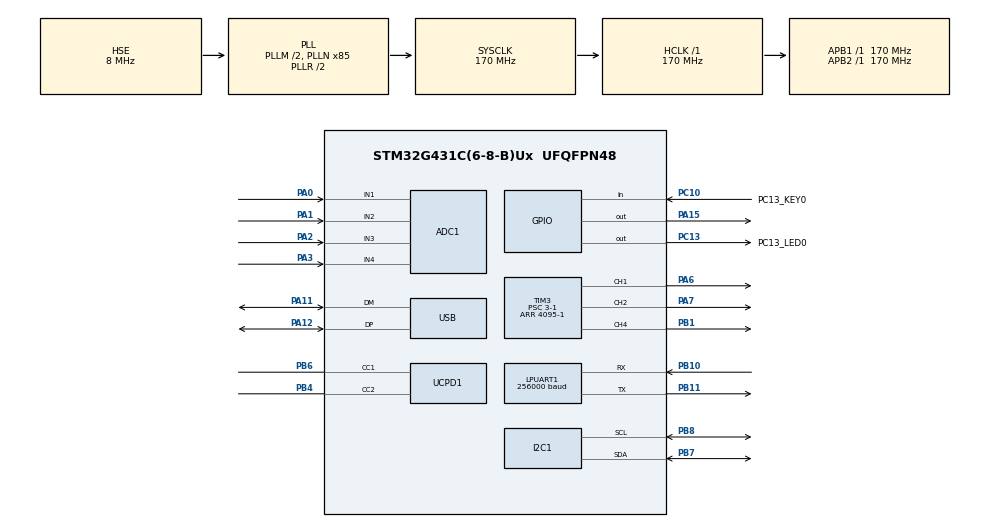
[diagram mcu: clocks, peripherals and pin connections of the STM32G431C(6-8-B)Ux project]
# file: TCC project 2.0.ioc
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ADC1.Channel-0\#ChannelRegularConversion=ADC_CHANNEL_2
ADC1.Channel-4\#ChannelRegularConversion=ADC_CHANNEL_3
ADC1.Channel-5\#ChannelRegularConversion=ADC_CHANNEL_4
ADC1.Channel-6\#ChannelRegularConversion=ADC_CHANNEL_1
ADC1.ClockPrescaler=ADC_CLOCK_ASYNC_DIV8
ADC1.ContinuousConvMode=ENABLE
ADC1.NbrOfConversion=4
ADC1.NbrOfConversionFlag=1
ADC1.OffsetNumber-4\#ChannelRegularConversion=ADC_OFFSET_NONE
ADC1.OffsetNumber-5\#ChannelRegularConversion=ADC_OFFSET_NONE
ADC1.OffsetNumber-6\#ChannelRegularConversion=ADC_OFFSET_NONE
ADC1.Rank-4\#ChannelRegularConversion=2
ADC1.Rank-5\#ChannelRegularConversion=3
ADC1.Rank-6\#ChannelRegularConversion=4
ADC1.SamplingTime-0\#ChannelRegularConversion=ADC_SAMPLETIME_12CYCLES_5
ADC1.SamplingTime-4\#ChannelRegularConversion=ADC_SAMPLETIME_12CYCLES_5
ADC1.SamplingTime-5\#ChannelRegularConversion=ADC_SAMPLETIME_12CYCLES_5
ADC1.SamplingTime-6\#ChannelRegularConversion=ADC_SAMPLETIME_24CYCLES_5
ADC1.master=1
Dma.ADC1.0.Direction=DMA_PERIPH_TO_MEMORY
Dma.ADC1.0.EventEnable=DISABLE
Dma.ADC1.0.Instance=DMA1_Channel1
Dma.ADC1.0.MemDataAlignment=DMA_MDATAALIGN_WORD
Dma.ADC1.0.MemInc=DMA_MINC_ENABLE
Dma.ADC1.0.Mode=DMA_CIRCULAR
Dma.ADC1.0.PeriphDataAlignment=DMA_PDATAALIGN_WORD
Dma.ADC1.0.PeriphInc=DMA_PINC_DISABLE
Dma.ADC1.0.Polarity=HAL_DMAMUX_REQ_GEN_RISING
Dma.ADC1.0.Priority=DMA_PRIORITY_LOW
Dma.ADC1.0.RequestNumber=1
Dma.ADC1.0.SignalID=NONE
Dma.ADC1.0.SyncEnable=DISABLE
Dma.ADC1.0.SyncPolarity=HAL_DMAMUX_SYNC_NO_EVENT
Dma.ADC1.0.SyncRequestNumber=1
Dma.ADC1.0.SyncSignalID=NONE
Dma.Request0=ADC1
I2C1.Timing=0x40B285C2
LPUART1.BaudRate=256000
Mcu.Family=STM32G4
Mcu.Name=STM32G431C(6-8-B)Ux
Mcu.Package=UFQFPN48
NVIC.ADC1_2_IRQn=true\:0\:0\:false\:false\:true\:true\:true\:true
NVIC.DMA1_Channel1_IRQn=true\:0\:0\:false\:false\:true\:false\:true\:true
NVIC.PriorityGroup=NVIC_PRIORITYGROUP_4
NVIC.TIM1_UP_TIM16_IRQn=true\:0\:0\:false\:false\:true\:true\:true\:true
NVIC.TIM6_DAC_IRQn=true\:1\:0\:true\:false\:true\:true\:true\:true
NVIC.TIM7_IRQn=true\:2\:0\:true\:false\:true\:true\:true\:true
NVIC.USB_LP_IRQn=true\:0\:0\:false\:false\:true\:true\:true\:false
PA0.Mode=IN1-Single-Ended
PA0.Signal=ADC1_IN1
PA1.Mode=IN2-Single-Ended
PA1.Signal=ADC1_IN2
PA10.Signal=S_TIM1_CH3
PA11.Mode=Device
PA11.Signal=USB_DM
PA12.Mode=Device
PA12.Signal=USB_DP
PA13.Mode=Serial_Wire
PA13.Signal=SYS_JTMS-SWDIO
PA14.Mode=Serial_Wire
PA14.Signal=SYS_JTCK-SWCLK
PA15.Signal=GPIO_Output
PA2.Mode=IN3-Single-Ended
PA2.Signal=ADC1_IN3
PA3.Mode=IN4-Single-Ended
PA3.Signal=ADC1_IN4
PA6.Signal=S_TIM3_CH1
PA7.Signal=S_TIM3_CH2
PA8.Signal=S_TIM1_CH1
PA9.Signal=S_TIM1_CH2
PB1.Signal=S_TIM3_CH4
PB10.Mode=Asynchronous
PB10.Signal=LPUART1_RX
PB11.Mode=Asynchronous
PB11.Signal=LPUART1_TX
PB12.Signal=TIM1_BKIN
PB13.Signal=TIM1_CH1N
PB15.Signal=TIM1_CH3N
PB4.Mode=Dual_Role_AllSignals
PB4.Signal=UCPD1_CC2
PB6.Mode=Dual_Role_AllSignals
PB6.Signal=UCPD1_CC1
PB7.Mode=I2C
PB7.Signal=I2C1_SDA
PB8-BOOT0.Mode=I2C
PB8-BOOT0.Signal=I2C1_SCL
PC10.GPIO_Label=PC13_KEY0
PC10.GPIO_PuPd=GPIO_PULLUP
PC10.Signal=GPIO_Input
PC13.GPIO_Label=PC13_LED0
PC13.Signal=GPIO_Output
PC14-OSC32_IN.Mode=LSE-External-Oscillator
PC14-OSC32_IN.Signal=RCC_OSC32_IN
PC15-OSC32_OUT.Mode=LSE-External-Oscillator
PC15-OSC32_OUT.Signal=RCC_OSC32_OUT
PF0-OSC_IN.Mode=HSE-External-Oscillator
PF0-OSC_IN.Signal=RCC_OSC_IN
PF1-OSC_OUT.Mode=HSE-External-Oscillator
PF1-OSC_OUT.Signal=RCC_OSC_OUT
ProjectManager.HeapSize=0x200
ProjectManager.StackSize=0x400
ProjectManager.TargetToolchain=STM32CubeIDE
RCC.ADC12Freq_Value=170000000
RCC.AHBFreq_Value=170000000
RCC.APB1Freq_Value=170000000
RCC.APB1TimFreq_Value=170000000
RCC.APB2Freq_Value=170000000
RCC.APB2TimFreq_Value=170000000
RCC.CK48CLockSelection=RCC_USBCLKSOURCE_HSI48
RCC.CortexFreq_Value=170000000
RCC.EXTERNAL_CLOCK_VALUE=12288000
RCC.HCLKFreq_Value=170000000
RCC.HSE_VALUE=8000000
RCC.HSI48_VALUE=48000000
RCC.HSI_VALUE=16000000
RCC.PLLM=RCC_PLLM_DIV2
RCC.PLLN=85
RCC.PLLSourceVirtual=RCC_PLLSOURCE_HSE
RCC.SYSCLKFreq_VALUE=170000000
RCC.SYSCLKSource=RCC_SYSCLKSOURCE_PLLCLK
RCC.USBFreq_Value=48000000
RCC.VCOOutputFreq_Value=340000000
SH.S_TIM1_CH1.0=TIM1_CH1
SH.S_TIM1_CH2.0=TIM1_CH2
SH.S_TIM1_CH3.0=TIM1_CH3
SH.S_TIM3_CH1.0=TIM3_CH1,PWM Generation1 CH1
SH.S_TIM3_CH2.0=TIM3_CH2,PWM Generation2 CH2
SH.S_TIM3_CH4.0=TIM3_CH4,PWM Generation4 CH4
TIM16.PeriodNoDither=2-1
TIM16.Prescaler=85-1
TIM3.Channel-PWM\ Generation1\ CH1=TIM_CHANNEL_1
TIM3.Channel-PWM\ Generation2\ CH2=TIM_CHANNEL_2
TIM3.Channel-PWM\ Generation4\ CH4=TIM_CHANNEL_4
TIM3.PeriodNoDither=4095-1
TIM3.Prescaler=3-1
TIM6.PeriodNoDither=320-1
TIM6.Prescaler=170-1
TIM7.PeriodNoDither=1
TIM7.Prescaler=170-1
USB_DEVICE.CLASS_NAME_FS=CDC
USB_DEVICE.VirtualMode=Cdc
USB_DEVICE.VirtualModeFS=Cdc_FS
VP_SYS_VS_DBSignals.Mode=DisableDeadBatterySignals
VP_TIM16_VS_ClockSourceINT.Mode=Enable_Timer
VP_TIM17_VS_ClockSourceINT.Mode=Enable_Timer
VP_TIM3_VS_ClockSourceINT.Mode=Internal
VP_TIM6_VS_ClockSourceINT.Mode=Enable_Timer
VP_TIM7_VS_ClockSourceINT.Mode=Enable_Timer
VP_USB_DEVICE_VS_USB_DEVICE_CDC_FS.Mode=CDC_FS
board=custom

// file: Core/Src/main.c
/* USER CODE BEGIN Header */
/**
  ******************************************************************************
  * @file           : main.c
  * @brief          : Main program body
  ******************************************************************************
  * @attention
  *
  * Copyright (c) 2024 STMicroelectronics.
  * All rights reserved.
  *
  * This software is licensed under terms that can be found in the LICENSE file
  * in the root directory of this software component.
  * If no LICENSE file comes with this software, it is provided AS-IS.
  *
  ******************************************************************************
  */
/* USER CODE END Header */
#include "main.h"
#include "usb_device.h"

/* USER CODE BEGIN Includes */

#include <stdbool.h>
#include <stdio.h>
#include <ClarkeParkTransformation.h>
#include <ADC2VoltageValues.h>
#include <controller.h>

#define PC13_LED0_Pin GPIO_PIN_13
#define PC13_LED0_GPIO_Port GPIOC

#define   DEF_MAX_MSG_LENGTH      128
#define   sine_points          360

#define Kp 0.01   //0.5
#define Ki 0.9   //1.1
#define limMin -30000
#define limMax  30000
#define T 0.000320
#define _2_PI 6.28318530717
#define radian2degree 57.29577951

#define cutOffFrequency 3.0f

#define ADC_voltage_constant 0.0008056640625

#define ADC_BUF_SIZE 4

/*uint16_t sine_values[] =
                  {2074,2100,2126,2152,2178,2204,2231,2257,2282,2308,2334,2360,2385,2411,2436,2461,2487,2512,
                   2536,2561,2586,2610,2634,2658,2682,2706,2729,2753,2776,2798,2821,2843,2865,2887,2909,2930,
                   2951,2972,2993,3013,3033,3052,3072,3091,3109,3128,3146,3164,3181,3198,3215,3231,3247,3263,
                   3278,3293,3307,3321,3335,3348,3361,3374,3386,3397,3409,3420,3430,3440,3450,3459,3468,3476,
                   3484,3491,3498,3505,3511,3517,3522,3527,3531,3535,3538,3541,3544,3546,3547,3548,3549,3549,
                   3549,3548,3547,3546,3544,3541,3538,3535,3531,3527,3522,3517,3511,3505,3498,3491,3484,3476,
                   3468,3459,3450,3440,3430,3420,3409,3397,3386,3374,3361,3348,3335,3321,3307,3293,3278,3263,
                   3247,3231,3215,3198,3181,3164,3146,3128,3109,3091,3072,3052,3033,3013,2993,2972,2951,2930,
                   2909,2887,2865,2843,2821,2798,2776,2753,2729,2706,2682,2658,2634,2610,2586,2561,2536,2512,
                   2487,2461,2436,2411,2385,2360,2334,2308,2282,2257,2231,2204,2178,2152,2126,2100,2074,2048,
                   2021,1995,1969,1943,1917,1891,1864,1838,1813,1787,1761,1735,1710,1684,1659,1634,1608,1583,
                   1559,1534,1509,1485,1461,1437,1413,1389,1366,1342,1319,1297,1274,1252,1230,1208,1186,1165,
                   1144,1123,1102,1082,1062,1043,1023,1004,986,967,949,931,914,897,880,864,848,832,817,802,788,
                   774,760,747,734,721,709,698,686,675,665,655,645,636,627,619,611,604,597,590,584,578,573,568,
                   564,560,557,554,551,549,548,547,546,546,546,547,548,549,551,554,557,560,564,568,573,578,584,
                   590,597,604,611,619,627,636,645,655,665,675,686,698,709,721,734,747,760,774,788,802,817,832,
                   848,864,880,897,914,931,949,967,986,1004,1023,1043,1062,1082,1102,1123,1144,1165,1186,1208,
                   1230,1252,1274,1297,1319,1342,1366,1389,1413,1437,1461,1485,1509,1534,1559,1583,1608,1634,
                   1659,1684,1710,1735,1761,1787,1813,1838,1864,1891,1917,1943,1969,1995,2021,2048};*/

uint16_t sine_values[] =
                  {2032,2055,2078,2101,2124,2146,2169,2192,2214,2236,2259,2281,2303,2325,2347,2369,2391,2413,2435,2457,
                   2479,2501,2522,2543,2564,2585,2606,2627,2648,2668,2688,2708,2728,2748,2768,2787,2805,2823,2841,2859,
				   2877,2895,2914,2932,2951,2970,2989,3007,3026,3041,3054,3068,3081,3094,3108,3121,3133,3145,3156,3168,
				   3180,3192,3203,3212,3221,3229,3237,3246,3254,3263,3269,3276,3282,3288,3295,3301,3307,3310,3313,3316,
				   3319,3322,3325,3328,3327,3327,3326,3326,3325,3324,3323,3321,3318,3315,3312,3310,3307,3303,3297,3290,
				   3284,3278,3272,3265,3258,3249,3240,3231,3222,3213,3204,3192,3177,3163,3148,3134,3119,3104,3089,3074,
				   3058,3043,3027,3012,2996,2979,2960,2942,2923,2905,2887,2868,2847,2825,2803,2781,2759,2738,2716,2693,
				   2671,2648,2626,2603,2581,2559,2535,2511,2487,2464,2440,2416,2392,2367,2343,2318,2293,2268,2244,2219,
				   2193,2167,2141,2115,2090,2064,2038,2011,1985,1958,1932,1905,1879,1853,1829,1805,1781,1756,1732,1708,
				   1684,1661,1638,1614,1591,1568,1544,1521,1498,1474,1451,1427,1404,1380,1357,1335,1312,1289,1266,1244,
				   1221,1200,1179,1158,1137,1116,1095,1074,1055,1036,1016,997,978,959,939,920,901,882,863,844,825,806,
				   789,773,757,740,724,708,692,678,663,649,635,621,607,594,582,571,559,548,536,524,514,505,496,487,478,
				   470,461,453,447,441,435,430,424,418,413,410,406,403,400,396,393,392,392,393,393,393,394,394,396,399,
				   402,405,408,411,415,419,424,428,433,437,442,447,458,469,480,491,502,513,524,537,550,562,575,587,600,
				   613,628,643,658,673,688,703,719,737,755,773,792,810,828,847,870,892,914,937,959,981,1003,1025,1047,
				   1069,1091,1113,1135,1159,1183,1208,1233,1257,1282,1307,1332,1357,1383,1409,1434,1460,1486,1511,1535,
				   1560,1585,1610,1634,1659,1685,1711,1738,1764,1790,1816,1842,1866,1890,1914,1938,1961,1985,2009};

typedef struct {
   uint16_t SineA;
   uint16_t SineB;
   uint16_t SineC;
}FucntionGeneratorVoltage;
FucntionGeneratorVoltage MeineBench = {0, 0, 0};

VoltageValues Voltages = {0.0f, 0.0f, 0.0f};
VoltageValues ThreePhasesVoltages = {0.0f, 0.0f, 0.0f};
ClarkeTransformationStruct ClarkVal = {0.0f, 0.0f};

PIController pid = {
		Kp,
		Ki,
		limMin,
		limMax,
		T,
		0,0,0,0
};

Filter filt = {
	cutOffFrequency,
	T,
	0,0,0
};

Filter2ndOrder filter2nd = {
		0,0,0,0,0,0,0,0,0,
		T,cutOffFrequency
};

float filteroutput = 0;

//PLLResponse PLL = {0.0f, 0.0f};

float frequency = 50;
volatile uint8_t PeriodCounter4Bench = 0;
uint8_t  Timer16CyclesCounter;
uint16_t CurrentSample = 0;
char message[DEF_MAX_MSG_LENGTH] = "Place Holder/r/n";

float ADC_offset = 1.65;
uint32_t ratio_numerator = 550;
uint32_t ratio_denominator = 100000;

float error = 0;

uint32_t counter_E = 0;

float Voltage_ADC_offset = 0;

uint32_t adc_buffer[ADC_BUF_SIZE] = {1,2,3,4};

int counter_for_DMA_activation = 0;

// temp
uint64_t current_tick = 0, end_tick = 0, diff_tick = 0, us = 0;
float RealFrequeny = 0;
uint8_t c = 0;

/* USER CODE END Includes */

ADC_HandleTypeDef hadc1;
DMA_HandleTypeDef hdma_adc1;

I2C_HandleTypeDef hi2c1;

UART_HandleTypeDef hlpuart1;

TIM_HandleTypeDef htim3;
TIM_HandleTypeDef htim6;
TIM_HandleTypeDef htim7;
TIM_HandleTypeDef htim16;
TIM_HandleTypeDef htim17;

void SystemClock_Config(void);
static void MX_GPIO_Init(void);
static void MX_DMA_Init(void);
static void MX_ADC1_Init(void);
static void MX_I2C1_Init(void);
static void MX_LPUART1_UART_Init(void);
static void MX_TIM3_Init(void);
static void MX_UCPD1_Init(void);
static void MX_TIM7_Init(void);
static void MX_TIM16_Init(void);
static void MX_TIM6_Init(void);
static void MX_TIM17_Init(void);

/* USER CODE BEGIN 0 */
uint8_t CounterBenchPeriod(float frequency);

/* USER CODE END 0 */

int main(void)
{

  /* USER CODE BEGIN 1 */

	PIDController_Init(&pid);
	LowPassFilter_init(&filt);
	LowPassFilter2ndOrder_init(&filter2nd);
  /* USER CODE END 1 */

  /* MCU Configuration--------------------------------------------------------*/

  /* Reset of all peripherals, Initializes the Flash interface and the Systick. */
  HAL_Init();

  /* Configure the system clock */
  SystemClock_Config();

  /* Initialize all configured peripherals */
  MX_GPIO_Init();
  MX_DMA_Init();
  MX_ADC1_Init();
  MX_I2C1_Init();
  MX_LPUART1_UART_Init();
  MX_TIM3_Init();
  MX_UCPD1_Init();
  MX_TIM7_Init();
  MX_TIM16_Init();
  MX_TIM6_Init();
  MX_USB_Device_Init();
  MX_TIM17_Init();
  /* USER CODE BEGIN 2 */

  __HAL_RCC_TIM7_CLK_ENABLE();
  HAL_TIM_Base_Start_IT(&htim6);
  HAL_TIM_Base_Start_IT(&htim7);

  PeriodCounter4Bench = CounterBenchPeriod(frequency);
  __HAL_RCC_TIM7_CLK_ENABLE();

 //HAL_ADCEx_Calibration_Start(&hadc1, ADC_SINGLE_ENDED);
  HAL_ADC_Start_DMA(&hadc1, adc_buffer, ADC_BUF_SIZE);

  // Start PWM on Timer 3 Channels 1, 2, and 4
  HAL_TIM_PWM_Start(&htim3, TIM_CHANNEL_1); // PA6 (Channel 1)
  HAL_TIM_PWM_Start(&htim3, TIM_CHANNEL_2); // PA7 (Channel 2)
  HAL_TIM_PWM_Start(&htim3, TIM_CHANNEL_4); // PB1 (Channel 4)

  /* USER CODE END 2 */

  /* Infinite loop */
  /* USER CODE BEGIN WHILE */
  while (1)
  {

		//used for calcutaing the real frequency
		  RealFrequeny = 1000000.0f/(diff_tick);

		//sprintf(message, "current: %lu \t end: %lu \t diff: %lu \r\n",current_tick, end_tick,  diff_tick);
		//sprintf(message, "Voltage A: %u \t Voltage B: %u \t Voltage C: %u \r\n",MeineBench.SineA, MeineBench.SineB, MeineBench.SineC);

		//sprintf(message, "Volt A: %.2f \t Volt B: %.2f \t Volt C: %.2f \t \r\n", Voltages.VoltageA, Voltages.VoltageB, Voltages.VoltageC);
		//sprintf(message, "Volt A: %.2f \t Volt B: %.2f \t Volt C: %.2f \t Volt A: %.2f \t Volt B: %.2f \t Volt C: %.2f \t \r\n", ThreePhasesVoltages.VoltageA, ThreePhasesVoltages.VoltageB, ThreePhasesVoltages.VoltageC, Voltages.VoltageA, Voltages.VoltageB, Voltages.VoltageC);
		//sprintf(message, "%.1f \t %lu \t\r\n", pid.Phase, CurrentSample); //*0.017453
		//sprintf(message, "Volt A: %.2f \t %lu \t \r\n",ThreePhasesVoltages.VoltageA, CurrentSample);

		 sprintf(message, "%.3f \t %.1f \t  %.1f \t \r\n", filteroutput/_2_PI, pid.Frequency/_2_PI , pid.Phase*radian2degree);
		 //sprintf(message, "%.2f\t %.2f \r\n",  pid.Phase, error);
		 //sprintf(message, "Alpha: %.2f \t Beta: %.2f \t %.1f  \t current sample: %lu \t \r\n",ClarkVal.Alpha, ClarkVal.Beta, error, pid.Phase);
		 //sprintf(message, "%.3f \t %.1f \t  %.1f \t  %.1f \t %lu \t \r\n", filteroutput/_2_PI, pid.Frequency/_2_PI, RealFrequeny , pid.Phase*radian2degree, CurrentSample);

		 //sprintf(message, "%.3f \t %.2f \t  %lu \t  %.2f \t %lu \t \r\n", 1000000.0f/filteroutput, pid.Frequency/360.0f, diff_tick , pid.Phase, CurrentSample);

		  /*if(Filling ==  false){
			  //us = 0;
			  for(int i = 0; i<1000; i++){
				  sprintf(message, "%lu \t %lu \t \r\n",  ReadVoltageA[i], (uint32_t)us);
				  CDC_Transmit_FS(message, strlen(message));
			  }
			  Filling = true;

		  }*/

		  //Voltage_ADC_offset = adc_buffer[0];

		  //sprintf(message, "%lu \t %lu \t %lu \t %lu  \t \r\n", adc_buffer[0], adc_buffer[1], adc_buffer[2], adc_buffer[3]);

		 CDC_Transmit_FS(message, strlen(message));

		 PeriodCounter4Bench = CounterBenchPeriod(frequency);

		 HAL_GPIO_TogglePin(PC13_LED0_GPIO_Port, PC13_LED0_Pin);
		 //HAL_Delay(1);

		 //HAL_GPIO_TogglePin(PC13_LED0_GPIO_Port, PC13_LED0_Pin);
		 //HAL_Delay(1);

    /* USER CODE END WHILE */

  }
}

void SystemClock_Config(void)
{
  RCC_OscInitTypeDef RCC_OscInitStruct = {0};
  RCC_ClkInitTypeDef RCC_ClkInitStruct = {0};

  /** Configure the main internal regulator output voltage
  */
  HAL_PWREx_ControlVoltageScaling(PWR_REGULATOR_VOLTAGE_SCALE1_BOOST);

  /** Initializes the RCC Oscillators according to the specified parameters
  * in the RCC_OscInitTypeDef structure.
  */
  RCC_OscInitStruct.OscillatorType = RCC_OSCILLATORTYPE_HSI|RCC_OSCILLATORTYPE_HSI48
                              |RCC_OSCILLATORTYPE_HSE;
  RCC_OscInitStruct.HSEState = RCC_HSE_ON;
  RCC_OscInitStruct.HSIState = RCC_HSI_ON;
  RCC_OscInitStruct.HSICalibrationValue = RCC_HSICALIBRATION_DEFAULT;
  RCC_OscInitStruct.HSI48State = RCC_HSI48_ON;
  RCC_OscInitStruct.PLL.PLLState = RCC_PLL_ON;
  RCC_OscInitStruct.PLL.PLLSource = RCC_PLLSOURCE_HSE;
  RCC_OscInitStruct.PLL.PLLM = RCC_PLLM_DIV2;
  RCC_OscInitStruct.PLL.PLLN = 85;
  RCC_OscInitStruct.PLL.PLLP = RCC_PLLP_DIV2;
  RCC_OscInitStruct.PLL.PLLQ = RCC_PLLQ_DIV2;
  RCC_OscInitStruct.PLL.PLLR = RCC_PLLR_DIV2;
  if (HAL_RCC_OscConfig(&RCC_OscInitStruct) != HAL_OK)
  {
    Error_Handler();
  }

  /** Initializes the CPU, AHB and APB buses clocks
  */
  RCC_ClkInitStruct.ClockType = RCC_CLOCKTYPE_HCLK|RCC_CLOCKTYPE_SYSCLK
                              |RCC_CLOCKTYPE_PCLK1|RCC_CLOCKTYPE_PCLK2;
  RCC_ClkInitStruct.SYSCLKSource = RCC_SYSCLKSOURCE_PLLCLK;
  RCC_ClkInitStruct.AHBCLKDivider = RCC_SYSCLK_DIV1;
  RCC_ClkInitStruct.APB1CLKDivider = RCC_HCLK_DIV1;
  RCC_ClkInitStruct.APB2CLKDivider = RCC_HCLK_DIV1;

  if (HAL_RCC_ClockConfig(&RCC_ClkInitStruct, FLASH_LATENCY_4) != HAL_OK)
  {
    Error_Handler();
  }
}

static void MX_ADC1_Init(void)
{

  ADC_MultiModeTypeDef multimode = {0};
  ADC_ChannelConfTypeDef sConfig = {0};

  /** Common config
  */
  hadc1.Instance = ADC1;
  hadc1.Init.ClockPrescaler = ADC_CLOCK_ASYNC_DIV8;
  hadc1.Init.Resolution = ADC_RESOLUTION_12B;
  hadc1.Init.DataAlign = ADC_DATAALIGN_RIGHT;
  hadc1.Init.GainCompensation = 0;
  hadc1.Init.ScanConvMode = ADC_SCAN_ENABLE;
  hadc1.Init.EOCSelection = ADC_EOC_SINGLE_CONV;
  hadc1.Init.LowPowerAutoWait = DISABLE;
  hadc1.Init.ContinuousConvMode = ENABLE;
  hadc1.Init.NbrOfConversion = 4;
  hadc1.Init.DiscontinuousConvMode = DISABLE;
  hadc1.Init.ExternalTrigConv = ADC_SOFTWARE_START;
  hadc1.Init.ExternalTrigConvEdge = ADC_EXTERNALTRIGCONVEDGE_NONE;
  hadc1.Init.DMAContinuousRequests = DISABLE;
  hadc1.Init.Overrun = ADC_OVR_DATA_PRESERVED;
  hadc1.Init.OversamplingMode = DISABLE;
  if (HAL_ADC_Init(&hadc1) != HAL_OK)
  {
    Error_Handler();
  }

  /** Configure the ADC multi-mode
  */
  multimode.Mode = ADC_MODE_INDEPENDENT;
  if (HAL_ADCEx_MultiModeConfigChannel(&hadc1, &multimode) != HAL_OK)
  {
    Error_Handler();
  }

  /** Configure Regular Channel
  */
  sConfig.Channel = ADC_CHANNEL_3;
  sConfig.Rank = ADC_REGULAR_RANK_2;
  sConfig.SamplingTime = ADC_SAMPLETIME_12CYCLES_5;
  sConfig.SingleDiff = ADC_SINGLE_ENDED;
  sConfig.OffsetNumber = ADC_OFFSET_NONE;
  sConfig.Offset = 0;
  if (HAL_ADC_ConfigChannel(&hadc1, &sConfig) != HAL_OK)
  {
    Error_Handler();
  }

  /** Configure Regular Channel
  */
  sConfig.Channel = ADC_CHANNEL_4;
  sConfig.Rank = ADC_REGULAR_RANK_3;
  if (HAL_ADC_ConfigChannel(&hadc1, &sConfig) != HAL_OK)
  {
    Error_Handler();
  }

  /** Configure Regular Channel
  */
  sConfig.Channel = ADC_CHANNEL_1;
  sConfig.Rank = ADC_REGULAR_RANK_4;
  sConfig.SamplingTime = ADC_SAMPLETIME_24CYCLES_5;
  if (HAL_ADC_ConfigChannel(&hadc1, &sConfig) != HAL_OK)
  {
    Error_Handler();
  }

  /** Configure Regular Channel
  */
  sConfig.Channel = ADC_CHANNEL_2;
  sConfig.Rank = ADC_REGULAR_RANK_1;
  sConfig.SamplingTime = ADC_SAMPLETIME_12CYCLES_5;
  if (HAL_ADC_ConfigChannel(&hadc1, &sConfig) != HAL_OK)
  {
    Error_Handler();
  }

}

static void MX_I2C1_Init(void)
{

  hi2c1.Instance = I2C1;
  hi2c1.Init.Timing = 0x40B285C2;
  hi2c1.Init.OwnAddress1 = 0;
  hi2c1.Init.AddressingMode = I2C_ADDRESSINGMODE_7BIT;
  hi2c1.Init.DualAddressMode = I2C_DUALADDRESS_DISABLE;
  hi2c1.Init.OwnAddress2 = 0;
  hi2c1.Init.OwnAddress2Masks = I2C_OA2_NOMASK;
  hi2c1.Init.GeneralCallMode = I2C_GENERALCALL_DISABLE;
  hi2c1.Init.NoStretchMode = I2C_NOSTRETCH_DISABLE;
  if (HAL_I2C_Init(&hi2c1) != HAL_OK)
  {
    Error_Handler();
  }

  /** Configure Analogue filter
  */
  if (HAL_I2CEx_ConfigAnalogFilter(&hi2c1, I2C_ANALOGFILTER_ENABLE) != HAL_OK)
  {
    Error_Handler();
  }

  /** Configure Digital filter
  */
  if (HAL_I2CEx_ConfigDigitalFilter(&hi2c1, 0) != HAL_OK)
  {
    Error_Handler();
  }

}

static void MX_LPUART1_UART_Init(void)
{

  hlpuart1.Instance = LPUART1;
  hlpuart1.Init.BaudRate = 256000;
  hlpuart1.Init.WordLength = UART_WORDLENGTH_8B;
  hlpuart1.Init.StopBits = UART_STOPBITS_1;
  hlpuart1.Init.Parity = UART_PARITY_NONE;
  hlpuart1.Init.Mode = UART_MODE_TX_RX;
  hlpuart1.Init.HwFlowCtl = UART_HWCONTROL_NONE;
  hlpuart1.Init.OneBitSampling = UART_ONE_BIT_SAMPLE_DISABLE;
  hlpuart1.Init.ClockPrescaler = UART_PRESCALER_DIV1;
  hlpuart1.AdvancedInit.AdvFeatureInit = UART_ADVFEATURE_NO_INIT;
  if (HAL_UART_Init(&hlpuart1) != HAL_OK)
  {
    Error_Handler();
  }
  if (HAL_UARTEx_SetTxFifoThreshold(&hlpuart1, UART_TXFIFO_THRESHOLD_1_8) != HAL_OK)
  {
    Error_Handler();
  }
  if (HAL_UARTEx_SetRxFifoThreshold(&hlpuart1, UART_RXFIFO_THRESHOLD_1_8) != HAL_OK)
  {
    Error_Handler();
  }
  if (HAL_UARTEx_DisableFifoMode(&hlpuart1) != HAL_OK)
  {
    Error_Handler();
  }

}

static void MX_TIM3_Init(void)
{

  TIM_ClockConfigTypeDef sClockSourceConfig = {0};
  TIM_MasterConfigTypeDef sMasterConfig = {0};
  TIM_OC_InitTypeDef sConfigOC = {0};

  htim3.Instance = TIM3;
  htim3.Init.Prescaler = 3-1;
  htim3.Init.CounterMode = TIM_COUNTERMODE_UP;
  htim3.Init.Period = 4094;
  htim3.Init.ClockDivision = TIM_CLOCKDIVISION_DIV1;
  htim3.Init.AutoReloadPreload = TIM_AUTORELOAD_PRELOAD_DISABLE;
  if (HAL_TIM_Base_Init(&htim3) != HAL_OK)
  {
    Error_Handler();
  }
  sClockSourceConfig.ClockSource = TIM_CLOCKSOURCE_INTERNAL;
  if (HAL_TIM_ConfigClockSource(&htim3, &sClockSourceConfig) != HAL_OK)
  {
    Error_Handler();
  }
  if (HAL_TIM_PWM_Init(&htim3) != HAL_OK)
  {
    Error_Handler();
  }
  sMasterConfig.MasterOutputTrigger = TIM_TRGO_RESET;
  sMasterConfig.MasterSlaveMode = TIM_MASTERSLAVEMODE_DISABLE;
  if (HAL_TIMEx_MasterConfigSynchronization(&htim3, &sMasterConfig) != HAL_OK)
  {
    Error_Handler();
  }
  sConfigOC.OCMode = TIM_OCMODE_PWM1;
  sConfigOC.Pulse = 0;
  sConfigOC.OCPolarity = TIM_OCPOLARITY_HIGH;
  sConfigOC.OCFastMode = TIM_OCFAST_DISABLE;
  if (HAL_TIM_PWM_ConfigChannel(&htim3, &sConfigOC, TIM_CHANNEL_1) != HAL_OK)
  {
    Error_Handler();
  }
  if (HAL_TIM_PWM_ConfigChannel(&htim3, &sConfigOC, TIM_CHANNEL_2) != HAL_OK)
  {
    Error_Handler();
  }
  if (HAL_TIM_PWM_ConfigChannel(&htim3, &sConfigOC, TIM_CHANNEL_4) != HAL_OK)
  {
    Error_Handler();
  }
  HAL_TIM_MspPostInit(&htim3);

}

static void MX_TIM6_Init(void)
{

  TIM_MasterConfigTypeDef sMasterConfig = {0};

  htim6.Instance = TIM6;
  htim6.Init.Prescaler = 170-1;
  htim6.Init.CounterMode = TIM_COUNTERMODE_UP;
  htim6.Init.Period = 319;
  htim6.Init.AutoReloadPreload = TIM_AUTORELOAD_PRELOAD_DISABLE;
  if (HAL_TIM_Base_Init(&htim6) != HAL_OK)
  {
    Error_Handler();
  }
  sMasterConfig.MasterOutputTrigger = TIM_TRGO_RESET;
  sMasterConfig.MasterSlaveMode = TIM_MASTERSLAVEMODE_DISABLE;
  if (HAL_TIMEx_MasterConfigSynchronization(&htim6, &sMasterConfig) != HAL_OK)
  {
    Error_Handler();
  }

}

static void MX_TIM7_Init(void)
{

  TIM_MasterConfigTypeDef sMasterConfig = {0};

  htim7.Instance = TIM7;
  htim7.Init.Prescaler = 170-1;
  htim7.Init.CounterMode = TIM_COUNTERMODE_UP;
  htim7.Init.Period = 1;
  htim7.Init.AutoReloadPreload = TIM_AUTORELOAD_PRELOAD_DISABLE;
  if (HAL_TIM_Base_Init(&htim7) != HAL_OK)
  {
    Error_Handler();
  }
  sMasterConfig.MasterOutputTrigger = TIM_TRGO_RESET;
  sMasterConfig.MasterSlaveMode = TIM_MASTERSLAVEMODE_DISABLE;
  if (HAL_TIMEx_MasterConfigSynchronization(&htim7, &sMasterConfig) != HAL_OK)
  {
    Error_Handler();
  }

}

static void MX_TIM16_Init(void)
{

  htim16.Instance = TIM16;
  htim16.Init.Prescaler = 85-1;
  htim16.Init.CounterMode = TIM_COUNTERMODE_UP;
  htim16.Init.Period = 1;
  htim16.Init.ClockDivision = TIM_CLOCKDIVISION_DIV1;
  htim16.Init.RepetitionCounter = 0;
  htim16.Init.AutoReloadPreload = TIM_AUTORELOAD_PRELOAD_DISABLE;
  if (HAL_TIM_Base_Init(&htim16) != HAL_OK)
  {
    Error_Handler();
  }

}

static void MX_TIM17_Init(void)
{

  htim17.Instance = TIM17;
  htim17.Init.Prescaler = 0;
  htim17.Init.CounterMode = TIM_COUNTERMODE_UP;
  htim17.Init.Period = 65535;
  htim17.Init.ClockDivision = TIM_CLOCKDIVISION_DIV1;
  htim17.Init.RepetitionCounter = 0;
  htim17.Init.AutoReloadPreload = TIM_AUTORELOAD_PRELOAD_DISABLE;
  if (HAL_TIM_Base_Init(&htim17) != HAL_OK)
  {
    Error_Handler();
  }

}

static void MX_UCPD1_Init(void)
{

  LL_GPIO_InitTypeDef GPIO_InitStruct = {0};

  /* Peripheral clock enable */
  LL_APB1_GRP2_EnableClock(LL_APB1_GRP2_PERIPH_UCPD1);

  LL_AHB2_GRP1_EnableClock(LL_AHB2_GRP1_PERIPH_GPIOB);
  /**UCPD1 GPIO Configuration
  PB4   ------> UCPD1_CC2
  PB6   ------> UCPD1_CC1
  */
  GPIO_InitStruct.Pin = LL_GPIO_PIN_4;
  GPIO_InitStruct.Mode = LL_GPIO_MODE_ANALOG;
  GPIO_InitStruct.Pull = LL_GPIO_PULL_NO;
  LL_GPIO_Init(GPIOB, &GPIO_InitStruct);

  GPIO_InitStruct.Pin = LL_GPIO_PIN_6;
  GPIO_InitStruct.Mode = LL_GPIO_MODE_ANALOG;
  GPIO_InitStruct.Pull = LL_GPIO_PULL_NO;
  LL_GPIO_Init(GPIOB, &GPIO_InitStruct);

}

static void MX_DMA_Init(void)
{

  /* DMA controller clock enable */
  __HAL_RCC_DMAMUX1_CLK_ENABLE();
  __HAL_RCC_DMA1_CLK_ENABLE();

  /* DMA interrupt init */
  /* DMA1_Channel1_IRQn interrupt configuration */
  HAL_NVIC_SetPriority(DMA1_Channel1_IRQn, 0, 0);
  HAL_NVIC_EnableIRQ(DMA1_Channel1_IRQn);

}

static void MX_GPIO_Init(void)
{
  GPIO_InitTypeDef GPIO_InitStruct = {0};

  /* GPIO Ports Clock Enable */
  __HAL_RCC_GPIOC_CLK_ENABLE();
  __HAL_RCC_GPIOF_CLK_ENABLE();
  __HAL_RCC_GPIOA_CLK_ENABLE();
  __HAL_RCC_GPIOB_CLK_ENABLE();

  /*Configure GPIO pin Output Level */
  HAL_GPIO_WritePin(PC13_LED0_GPIO_Port, PC13_LED0_Pin, GPIO_PIN_RESET);

  /*Configure GPIO pin Output Level */
  HAL_GPIO_WritePin(GPIOA, GPIO_PIN_15, GPIO_PIN_RESET);

  /*Configure GPIO pin : PC13_LED0_Pin */
  GPIO_InitStruct.Pin = PC13_LED0_Pin;
  GPIO_InitStruct.Mode = GPIO_MODE_OUTPUT_PP;
  GPIO_InitStruct.Pull = GPIO_NOPULL;
  GPIO_InitStruct.Speed = GPIO_SPEED_FREQ_LOW;
  HAL_GPIO_Init(PC13_LED0_GPIO_Port, &GPIO_InitStruct);

  /*Configure GPIO pin : PB12 */
  GPIO_InitStruct.Pin = GPIO_PIN_12;
  GPIO_InitStruct.Mode = GPIO_MODE_AF_OD;
  GPIO_InitStruct.Pull = GPIO_NOPULL;
  GPIO_InitStruct.Speed = GPIO_SPEED_FREQ_LOW;
  GPIO_InitStruct.Alternate = GPIO_AF6_TIM1;
  HAL_GPIO_Init(GPIOB, &GPIO_InitStruct);

  /*Configure GPIO pin : PB13 */
  GPIO_InitStruct.Pin = GPIO_PIN_13;
  GPIO_InitStruct.Mode = GPIO_MODE_AF_PP;
  GPIO_InitStruct.Pull = GPIO_NOPULL;
  GPIO_InitStruct.Speed = GPIO_SPEED_FREQ_LOW;
  GPIO_InitStruct.Alternate = GPIO_AF6_TIM1;
  HAL_GPIO_Init(GPIOB, &GPIO_InitStruct);

  /*Configure GPIO pin : PB15 */
  GPIO_InitStruct.Pin = GPIO_PIN_15;
  GPIO_InitStruct.Mode = GPIO_MODE_AF_PP;
  GPIO_InitStruct.Pull = GPIO_NOPULL;
  GPIO_InitStruct.Speed = GPIO_SPEED_FREQ_LOW;
  GPIO_InitStruct.Alternate = GPIO_AF4_TIM1;
  HAL_GPIO_Init(GPIOB, &GPIO_InitStruct);

  /*Configure GPIO pins : PA8 PA9 PA10 */
  GPIO_InitStruct.Pin = GPIO_PIN_8|GPIO_PIN_9|GPIO_PIN_10;
  GPIO_InitStruct.Mode = GPIO_MODE_AF_PP;
  GPIO_InitStruct.Pull = GPIO_NOPULL;
  GPIO_InitStruct.Speed = GPIO_SPEED_FREQ_LOW;
  GPIO_InitStruct.Alternate = GPIO_AF6_TIM1;
  HAL_GPIO_Init(GPIOA, &GPIO_InitStruct);

  /*Configure GPIO pin : PA15 */
  GPIO_InitStruct.Pin = GPIO_PIN_15;
  GPIO_InitStruct.Mode = GPIO_MODE_OUTPUT_PP;
  GPIO_InitStruct.Pull = GPIO_NOPULL;
  GPIO_InitStruct.Speed = GPIO_SPEED_FREQ_LOW;
  HAL_GPIO_Init(GPIOA, &GPIO_InitStruct);

  /*Configure GPIO pin : PC13_KEY0_Pin */
  GPIO_InitStruct.Pin = PC13_KEY0_Pin;
  GPIO_InitStruct.Mode = GPIO_MODE_INPUT;
  GPIO_InitStruct.Pull = GPIO_PULLUP;
  HAL_GPIO_Init(PC13_KEY0_GPIO_Port, &GPIO_InitStruct);

}

/* USER CODE BEGIN 4 */

void HAL_TIM_PeriodElapsedCallback(TIM_HandleTypeDef* htim){

	 if(htim->Instance == TIM7){
		   Timer16CyclesCounter++;

		   if(Timer16CyclesCounter > PeriodCounter4Bench-1){
		      CurrentSample++;

		      if(CurrentSample > sine_points-1) {
		    	  CurrentSample = 0;

		    	  end_tick = current_tick;
		    	  current_tick = us; //HAL_GetTick();

		    	  diff_tick = current_tick - end_tick;

		      }

		      Timer16CyclesCounter = 0;

		      MeineBench.SineA = sine_values[CurrentSample];

		      if(CurrentSample+119 > sine_points-1){
		         MeineBench.SineB = sine_values[CurrentSample - 241];
		      }else{
		         MeineBench.SineB = sine_values[CurrentSample + 119];
		      }

		      if(CurrentSample+239 > sine_points-1){
		         MeineBench.SineC = sine_values[CurrentSample - 121];

		      }else{
		         MeineBench.SineC = sine_values[CurrentSample + 239];
		      }

		   }

		   counter_for_DMA_activation++;
		   if(counter_for_DMA_activation > 5){
			   counter_for_DMA_activation = 0;
			   HAL_ADC_Start(&hadc1);

		   }

			 __HAL_TIM_SET_COMPARE(&htim3, TIM_CHANNEL_1, MeineBench.SineA);
			 __HAL_TIM_SET_COMPARE(&htim3, TIM_CHANNEL_2, MeineBench.SineB);
			 __HAL_TIM_SET_COMPARE(&htim3, TIM_CHANNEL_4, MeineBench.SineC);

	 }

	 if(htim->Instance == TIM6){

		 us += 320;

		 Voltages.VoltageA =  (float)adc_buffer[0];
		 Voltages.VoltageB =  (float)adc_buffer[1];
		 Voltages.VoltageC =  (float)adc_buffer[2];

		 /*
		Voltages.VoltageA = MeineBench.SineA;
	    Voltages.VoltageB = MeineBench.SineB;
		Voltages.VoltageC = MeineBench.SineC;
		  */

		 //ADC_offset = (float)adc_buffer[3] * ADC_voltage_constant - 0.10f;
		 ADC_offset = (float)adc_buffer[3];
		 ThreePhasesVoltages = ADC2RealValues(Voltages, ratio_numerator, ratio_denominator, ADC_offset);

		 ClarkVal = abc2alphabeta(ThreePhasesVoltages.VoltageA , ThreePhasesVoltages.VoltageB , ThreePhasesVoltages.VoltageC );

		 error = AlphaBetaCalculation(ClarkVal.Alpha, ClarkVal.Beta, pid.Phase);

		 PIDController_Update(&pid, error);
		 integrator(&pid);

		 filteroutput = lowPassFilter(pid.Frequency, &filt);
		 //filteroutput = lowPassFilter2ndOrder(pid.Frequency, &filter2nd);

		   /*counter_E++;
		   if(counter_E > 1200){
			   counter_E = 0;
			   frequency = frequency+1;
			   if(frequency > 70) frequency = 50;
		   }*/

	 }
}

uint8_t CounterBenchPeriod(float frequency){
	float Period = 1000000.0f/frequency;
	int place = 4;
	uint8_t PeriodCounter4 = Period/(sine_points*place);

	return PeriodCounter4;
}

/* USER CODE END 4 */

void Error_Handler(void)
{
  __disable_irq();
  while (1)
  {
  }
}
